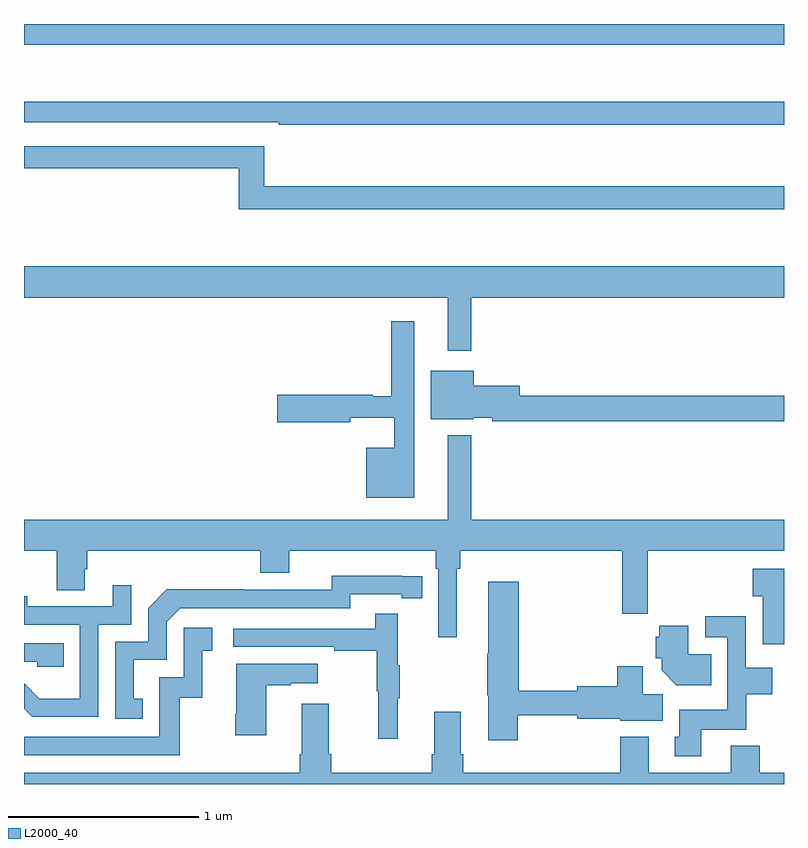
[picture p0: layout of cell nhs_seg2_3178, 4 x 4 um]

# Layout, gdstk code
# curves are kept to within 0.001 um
import gdstk
lib = gdstk.Library(unit=1e-6, precision=1e-09)
def R(c, l, rs):  # rectangles x0, y0, x1, y1
    for r in rs: c.add(gdstk.rectangle(r[:2], r[2:], *l))
def P(c, l, *ps):  # polygons
    for p in ps: c.add(gdstk.Polygon(p, *l))
L2000_40 = (2000, 40)

nhs_seg2_3178 = lib.new_cell('nhs_seg2_3178')
R(nhs_seg2_3178, L2000_40, [(279,591.692,283,591.8)])
P(nhs_seg2_3178, L2000_40, [(283,591.391),(279,591.391),(279,591.282),(280.342,591.282),(280.342,591.27),(283,591.27)],
  [(283,590.947),(280.265,590.947),(280.265,591.156),(279,591.156),(279,591.04),(280.129,591.04),(280.129,590.826),(283,590.826)],
  [(281.353,590.36),(283,590.36),(283,590.524),(279,590.524),(279,590.36),(281.231,590.36),(281.231,590.079),(281.353,590.079)],
  [(281.053,590.236),(280.932,590.236),(280.932,589.84),(280.835,589.84),(280.835,589.85),(280.332,589.85),(280.332,589.703),(280.716,589.703),(280.716,589.727),(280.949,589.727),(280.949,589.57),(280.802,589.57),(280.802,589.307),(281.053,589.307)],
  [(283,589.844),(281.608,589.844),(281.608,589.897),(281.368,589.897),(281.368,589.975),(281.141,589.975),(281.141,589.721),(281.364,589.721),(281.364,589.727),(281.464,589.727),(281.464,589.708),(283,589.708)],
  [(281.278,588.932),(281.297,588.932),(281.297,589.028),(282.148,589.028),(282.148,588.696),(282.284,588.696),(282.284,589.028),(283,589.028),(283,589.192),(281.353,589.192),(281.353,589.636),(281.231,589.636),(281.231,589.192),(279,589.192),(279,589.028),(279.172,589.028),(279.172,588.82),(279.319,588.82),(279.319,588.93),(279.332,588.93),(279.332,589.028),(280.244,589.028),(280.244,588.911),(280.396,588.911),(280.396,589.028),(281.168,589.028),(281.168,588.932),(281.181,588.932),(281.181,588.573),(281.278,588.573)],
  [(283,588.934),(282.836,588.934),(282.836,588.787),(282.887,588.787),(282.887,588.536),(283,588.536)],
  [(279.626,588.249),(279.577,588.249),(279.577,588.453),(279.75,588.453),(279.75,588.654),(279.822,588.726),(280.716,588.726),(280.716,588.798),(280.988,588.798),(280.988,588.778),(281.096,588.778),(281.096,588.894),(280.62,588.895),(280.62,588.822),(280.16,588.822),(280.16,588.824),(279.752,588.824),(279.654,588.726),(279.654,588.549),(279.48,588.549),(279.48,588.144),(279.626,588.144)],
  [(281.598,588.162),(281.912,588.162),(281.912,588.143),(282.138,588.143),(282.138,588.134),(282.361,588.134),(282.361,588.272),(282.256,588.272),(282.256,588.421),(282.122,588.421),(282.122,588.314),(281.912,588.314),(281.912,588.29),(281.603,588.29),(281.603,588.865),(281.444,588.865),(281.444,588.485),(281.437,588.485),(281.437,588.267),(281.444,588.267),(281.444,588.03),(281.598,588.03)],
  [(279.39,588.639),(279.564,588.639),(279.564,588.847),(279.467,588.847),(279.467,588.735),(279.016,588.735),(279.016,588.787),(279,588.787),(279,588.639),(279.294,588.639),(279.294,588.25),(279.08,588.25),(279,588.33),(279,588.197),(279.044,588.153),(279.39,588.153)],
  [(280.967,588.251),(280.978,588.251),(280.978,588.425),(280.967,588.425),(280.967,588.697),(280.849,588.697),(280.849,588.618),(280.101,588.618),(280.101,588.522),(280.633,588.522),(280.633,588.502),(280.857,588.502),(280.857,588.288),(280.864,588.288),(280.864,588.039),(280.967,588.039)],
  [(282.565,588.086),(282.801,588.086),(282.801,588.272),(282.937,588.272),(282.937,588.412),(282.798,588.412),(282.798,588.682),(282.585,588.682),(282.585,588.573),(282.702,588.573),(282.702,588.19),(282.449,588.19),(282.449,588.048),(282.425,588.048),(282.425,587.946),(282.565,587.946)],
  [(282.617,588.484),(282.496,588.484),(282.496,588.634),(282.344,588.634),(282.344,588.576),(282.326,588.576),(282.326,588.462),(282.356,588.462),(282.356,588.398),(282.434,588.32),(282.617,588.32)],
  [(279.82,588.255),(279.938,588.255),(279.938,588.501),(279.991,588.501),(279.991,588.622),(279.84,588.622),(279.84,588.363),(279.711,588.363),(279.711,588.048),(279,588.048),(279,587.952),(279.82,587.952)],
  [(279.209,588.54),(279,588.54),(279,588.444),(279.069,588.444),(279.069,588.417),(279.209,588.417)],
  [(280.276,588.319),(280.403,588.319),(280.403,588.329),(280.546,588.329),(280.546,588.433),(280.118,588.433),(280.118,588.169),(280.111,588.169),(280.111,588.057),(280.276,588.057)],
  [(283,587.86),(282.872,587.86),(282.872,588.001),(282.719,588.001),(282.719,587.86),(282.289,587.86),(282.289,588.049),(282.137,588.049),(282.137,587.86),(281.312,587.86),(281.312,587.956),(281.299,587.956),(281.299,588.181),(281.159,588.181),(281.159,587.956),(281.147,587.956),(281.147,587.86),(280.616,587.86),(280.616,587.956),(280.603,587.956),(280.603,588.223),(280.463,588.223),(280.463,587.956),(280.451,587.956),(280.451,587.86),(279,587.86),(279,587.8),(283,587.8)])

lib.write_gds('nhs_seg2_3178.gds')
